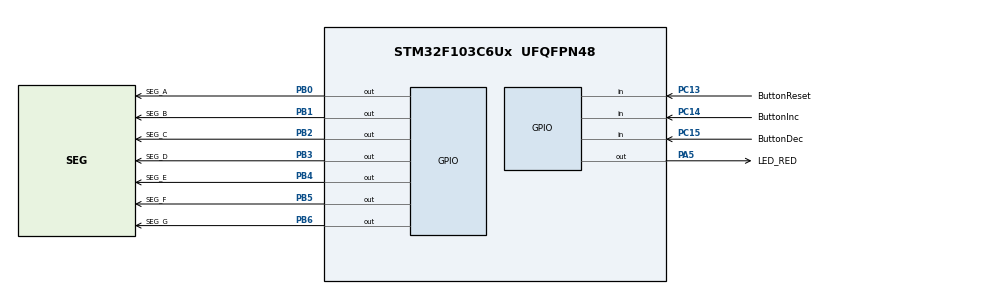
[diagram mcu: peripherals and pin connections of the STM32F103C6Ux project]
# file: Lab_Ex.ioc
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Mcu.Family=STM32F1
Mcu.Name=STM32F103C6Ux
Mcu.Package=UFQFPN48
NVIC.PriorityGroup=NVIC_PRIORITYGROUP_4
NVIC.TIM2_IRQn=true\:0\:0\:false\:false\:true\:true\:true
PA5.GPIO_Label=LED_RED
PA5.Signal=GPIO_Output
PB0.GPIO_Label=SEG_A
PB0.Signal=GPIO_Output
PB1.GPIO_Label=SEG_B
PB1.Signal=GPIO_Output
PB2.GPIO_Label=SEG_C
PB2.Signal=GPIO_Output
PB3.GPIO_Label=SEG_D
PB3.Signal=GPIO_Output
PB4.GPIO_Label=SEG_E
PB4.Signal=GPIO_Output
PB5.GPIO_Label=SEG_F
PB5.Signal=GPIO_Output
PB6.GPIO_Label=SEG_G
PB6.Signal=GPIO_Output
PC13-TAMPER-RTC.GPIO_Label=ButtonReset
PC13-TAMPER-RTC.GPIO_PuPd=GPIO_PULLUP
PC13-TAMPER-RTC.Signal=GPIO_Input
PC14-OSC32_IN.GPIO_Label=ButtonInc
PC14-OSC32_IN.GPIO_PuPd=GPIO_PULLUP
PC14-OSC32_IN.Signal=GPIO_Input
PC15-OSC32_OUT.GPIO_Label=ButtonDec
PC15-OSC32_OUT.GPIO_PuPd=GPIO_PULLUP
PC15-OSC32_OUT.Signal=GPIO_Input
ProjectManager.HeapSize=0x200
ProjectManager.StackSize=0x400
ProjectManager.TargetToolchain=STM32CubeIDE
RCC.APB1Freq_Value=8000000
RCC.APB2Freq_Value=8000000
TIM2.Period=9
TIM2.Prescaler=7999
VP_SYS_VS_ND.Mode=No_Debug
VP_TIM2_VS_ClockSourceINT.Mode=Internal
board=custom

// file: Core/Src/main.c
/* USER CODE BEGIN Header */
/**
  ******************************************************************************
  * @file           : main.c
  * @brief          : Main program body
  ******************************************************************************
  * @attention
  *
  * <h2><center>&copy; Copyright (c) 2022 STMicroelectronics.
  * All rights reserved.</center></h2>
  *
  * This software component is licensed by ST under BSD 3-Clause license,
  * the "License"; You may not use this file except in compliance with the
  * License. You may obtain a copy of the License at:
  *                        opensource.org/licenses/BSD-3-Clause
  *
  ******************************************************************************
  */
/* USER CODE END Header */
#include "main.h"

/* USER CODE BEGIN Includes */
#include "software_timer.h"
#include "button.h"
#include "led7.h"
#include "fsm.h"
/* USER CODE END Includes */

TIM_HandleTypeDef htim2;

void SystemClock_Config(void);
static void MX_GPIO_Init(void);
static void MX_TIM2_Init(void);

int main(void)
{

  /* MCU Configuration--------------------------------------------------------*/

  /* Reset of all peripherals, Initializes the Flash interface and the Systick. */
  HAL_Init();

  /* Configure the system clock */
  SystemClock_Config();

  /* Initialize all configured peripherals */
  MX_GPIO_Init();
  MX_TIM2_Init();
  /* USER CODE BEGIN 2 */
  HAL_TIM_Base_Start_IT(&htim2);
  /* USER CODE END 2 */

  /* Infinite loop */
  /* USER CODE BEGIN WHILE */
  status = 0;
  setTimerBlinky(100);
  setCounterMain(100);
  while (1)
  {
	  if(timerBlinky_flag == 1){
		  setTimerBlinky(100);
		  HAL_GPIO_TogglePin(LED_RED_GPIO_Port, LED_RED_Pin);
	  }
	  fsm_simple_buttons_run();

    /* USER CODE END WHILE */

  }
}

void SystemClock_Config(void)
{
  RCC_OscInitTypeDef RCC_OscInitStruct = {0};
  RCC_ClkInitTypeDef RCC_ClkInitStruct = {0};

  /** Initializes the RCC Oscillators according to the specified parameters
  * in the RCC_OscInitTypeDef structure.
  */
  RCC_OscInitStruct.OscillatorType = RCC_OSCILLATORTYPE_HSI;
  RCC_OscInitStruct.HSIState = RCC_HSI_ON;
  RCC_OscInitStruct.HSICalibrationValue = RCC_HSICALIBRATION_DEFAULT;
  RCC_OscInitStruct.PLL.PLLState = RCC_PLL_NONE;
  if (HAL_RCC_OscConfig(&RCC_OscInitStruct) != HAL_OK)
  {
    Error_Handler();
  }
  /** Initializes the CPU, AHB and APB buses clocks
  */
  RCC_ClkInitStruct.ClockType = RCC_CLOCKTYPE_HCLK|RCC_CLOCKTYPE_SYSCLK
                              |RCC_CLOCKTYPE_PCLK1|RCC_CLOCKTYPE_PCLK2;
  RCC_ClkInitStruct.SYSCLKSource = RCC_SYSCLKSOURCE_HSI;
  RCC_ClkInitStruct.AHBCLKDivider = RCC_SYSCLK_DIV1;
  RCC_ClkInitStruct.APB1CLKDivider = RCC_HCLK_DIV1;
  RCC_ClkInitStruct.APB2CLKDivider = RCC_HCLK_DIV1;

  if (HAL_RCC_ClockConfig(&RCC_ClkInitStruct, FLASH_LATENCY_0) != HAL_OK)
  {
    Error_Handler();
  }
}

static void MX_TIM2_Init(void)
{

  TIM_ClockConfigTypeDef sClockSourceConfig = {0};
  TIM_MasterConfigTypeDef sMasterConfig = {0};

  htim2.Instance = TIM2;
  htim2.Init.Prescaler = 7999;
  htim2.Init.CounterMode = TIM_COUNTERMODE_UP;
  htim2.Init.Period = 9;
  htim2.Init.ClockDivision = TIM_CLOCKDIVISION_DIV1;
  htim2.Init.AutoReloadPreload = TIM_AUTORELOAD_PRELOAD_DISABLE;
  if (HAL_TIM_Base_Init(&htim2) != HAL_OK)
  {
    Error_Handler();
  }
  sClockSourceConfig.ClockSource = TIM_CLOCKSOURCE_INTERNAL;
  if (HAL_TIM_ConfigClockSource(&htim2, &sClockSourceConfig) != HAL_OK)
  {
    Error_Handler();
  }
  sMasterConfig.MasterOutputTrigger = TIM_TRGO_RESET;
  sMasterConfig.MasterSlaveMode = TIM_MASTERSLAVEMODE_DISABLE;
  if (HAL_TIMEx_MasterConfigSynchronization(&htim2, &sMasterConfig) != HAL_OK)
  {
    Error_Handler();
  }

}

static void MX_GPIO_Init(void)
{
  GPIO_InitTypeDef GPIO_InitStruct = {0};

  /* GPIO Ports Clock Enable */
  __HAL_RCC_GPIOC_CLK_ENABLE();
  __HAL_RCC_GPIOA_CLK_ENABLE();
  __HAL_RCC_GPIOB_CLK_ENABLE();

  /*Configure GPIO pin Output Level */
  HAL_GPIO_WritePin(LED_RED_GPIO_Port, LED_RED_Pin, GPIO_PIN_RESET);

  /*Configure GPIO pin Output Level */
  HAL_GPIO_WritePin(GPIOB, SEG_A_Pin|SEG_B_Pin|SEG_C_Pin|SEG_D_Pin
                          |SEG_E_Pin|SEG_F_Pin|SEG_G_Pin, GPIO_PIN_RESET);

  /*Configure GPIO pins : ButtonReset_Pin ButtonInc_Pin ButtonDec_Pin */
  GPIO_InitStruct.Pin = ButtonReset_Pin|ButtonInc_Pin|ButtonDec_Pin;
  GPIO_InitStruct.Mode = GPIO_MODE_INPUT;
  GPIO_InitStruct.Pull = GPIO_PULLUP;
  HAL_GPIO_Init(GPIOC, &GPIO_InitStruct);

  /*Configure GPIO pin : LED_RED_Pin */
  GPIO_InitStruct.Pin = LED_RED_Pin;
  GPIO_InitStruct.Mode = GPIO_MODE_OUTPUT_PP;
  GPIO_InitStruct.Pull = GPIO_NOPULL;
  GPIO_InitStruct.Speed = GPIO_SPEED_FREQ_LOW;
  HAL_GPIO_Init(LED_RED_GPIO_Port, &GPIO_InitStruct);

  /*Configure GPIO pins : SEG_A_Pin SEG_B_Pin SEG_C_Pin SEG_D_Pin
                           SEG_E_Pin SEG_F_Pin SEG_G_Pin */
  GPIO_InitStruct.Pin = SEG_A_Pin|SEG_B_Pin|SEG_C_Pin|SEG_D_Pin
                          |SEG_E_Pin|SEG_F_Pin|SEG_G_Pin;
  GPIO_InitStruct.Mode = GPIO_MODE_OUTPUT_PP;
  GPIO_InitStruct.Pull = GPIO_NOPULL;
  GPIO_InitStruct.Speed = GPIO_SPEED_FREQ_LOW;
  HAL_GPIO_Init(GPIOB, &GPIO_InitStruct);

}

/* USER CODE BEGIN 4 */
	void HAL_TIM_PeriodElapsedCallback(TIM_HandleTypeDef *htim){
		timerRun();
		getKeyInputReset();
		getKeyInputInc();
		getKeyInputDec();
	}
/* USER CODE END 4 */

void Error_Handler(void)
{
  __disable_irq();
  while (1)
  {
  }
}

/************************ (C) COPYRIGHT STMicroelectronics *****END OF FILE****/
